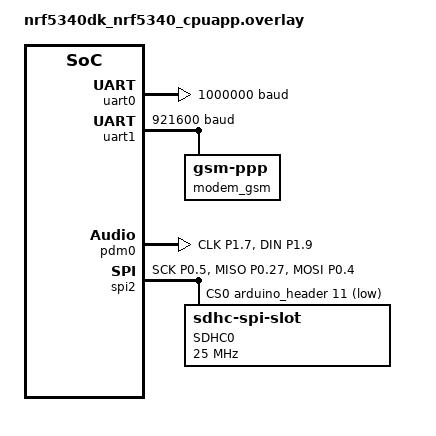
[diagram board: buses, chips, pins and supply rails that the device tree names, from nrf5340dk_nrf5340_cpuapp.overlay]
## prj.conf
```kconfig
#for serial and logging
CONFIG_LOG=y
CONFIG_SERIAL=y

CONFIG_AUDIO=y
CONFIG_AUDIO_DMIC=y

# GSM modem support
CONFIG_MODEM=y
CONFIG_MODEM_GSM_PPP=y
CONFIG_MODEM_GSM_QUECTEL=y

# PPP networking support
CONFIG_NET_DRIVERS=y
CONFIG_NET_PPP=y
CONFIG_NET_L2_PPP=y
CONFIG_NET_NATIVE=y
CONFIG_NETWORKING=y
CONFIG_NET_L2_PPP_TIMEOUT=10000

# AWS
CONFIG_AWS_ENDPOINT="AWS_end_point"
CONFIG_AWS_THING_NAME="AWS_Thing_Name"
CONFIG_AWS_PUBLISH_TOPIC="AWS_Topic"
CONFIG_AWS_TEST_SUITE_DQP=n
CONFIG_MAIN_STACK_SIZE=98000


CONFIG_ENTROPY_GENERATOR=y
CONFIG_TEST_RANDOM_GENERATOR=y
CONFIG_INIT_STACKS=y
CONFIG_HW_STACK_PROTECTION=y
CONFIG_NEWLIB_LIBC=y
CONFIG_POSIX_API=y
CONFIG_POSIX_MAX_FDS=6
CONFIG_SNTP=y

# DNS
CONFIG_DNS_RESOLVER=y
CONFIG_DNS_RESOLVER_ADDITIONAL_BUF_CTR=2
CONFIG_DNS_RESOLVER_MAX_SERVERS=1
CONFIG_DNS_SERVER_IP_ADDRESSES=y
CONFIG_DNS_SERVER1="8.8.8.8"
CONFIG_NET_SOCKETS_DNS_TIMEOUT=5000
CONFIG_DNS_RESOLVER_LOG_LEVEL_DBG=n

# Generic networking options
CONFIG_NET_UDP=y
CONFIG_NET_TCP=y
CONFIG_NET_IPV6=y
CONFIG_NET_IPV4=y
CONFIG_NET_SOCKETS=y
CONFIG_NET_SOCKETS_SOCKOPT_TLS=y

# Network management events
CONFIG_NET_CONNECTION_MANAGER=y

CONFIG_NET_SHELL=y
CONFIG_MODEM_SHELL=y
# CONFIG_MODEM_SHELL_INFO=y
CONFIG_MODEM_GSM_APN="airtelgprs.com"
# CONFIG_MODEM_GSM_APN="data.apn.name"
CONFIG_MODEM_SIM_NUMBERS=n

# Network buffers
CONFIG_NET_PKT_RX_COUNT=128
CONFIG_NET_PKT_TX_COUNT=128
CONFIG_NET_BUF_RX_COUNT=128
CONFIG_NET_BUF_TX_COUNT=128

#For Baud rate
CONFIG_NET_PPP_RINGBUF_SIZE=8192



# MQTT
CONFIG_MQTT_LIB=y
CONFIG_MQTT_LIB_TLS=y
CONFIG_MQTT_KEEPALIVE=60
CONFIG_AWS_QOS= 1
CONFIG_MBEDTLS=y
CONFIG_MBEDTLS_BUILTIN=y
CONFIG_MBEDTLS_ENABLE_HEAP=y
CONFIG_MBEDTLS_HEAP_SIZE=65536
CONFIG_MBEDTLS_SSL_MAX_CONTENT_LEN=16384
CONFIG_MBEDTLS_PEM_CERTIFICATE_FORMAT=y
CONFIG_MBEDTLS_USER_CONFIG_ENABLE=y
CONFIG_MBEDTLS_USER_CONFIG_FILE="user-tls.h"
CONFIG_MBEDTLS_SERVER_NAME_INDICATION=y
CONFIG_MBEDTLS_TLS_VERSION_1_2=y
CONFIG_MBEDTLS_MEMORY_DEBUG=n





# CONFIG_LOG_BACKEND_UART=y
CONFIG_SPI=y
CONFIG_STDOUT_CONSOLE=y
CONFIG_FLASH=y
CONFIG_PRINTK=y
CONFIG_SPI_NRFX_RAM_BUFFER_SIZE=512
CONFIG_I2S=y
CONFIG_DATE_TIME=y
CONFIG_REBOOT=y
CONFIG_FPU=y

#SD Card
CONFIG_DISK_ACCESS=y
CONFIG_FILE_SYSTEM=y
CONFIG_FAT_FILESYSTEM_ELM=y
CONFIG_DISK_DRIVER_SDMMC=y
```

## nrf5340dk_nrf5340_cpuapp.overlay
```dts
&uart0 {
	current-speed = <1000000>;
	status = "okay";
};

&pinctrl {
	uart1_default: uart1_default {
		group1 {
			psels = <NRF_PSEL(UART_TX, 1, 10)>;
		};
		group2 {
			psels = <NRF_PSEL(UART_RX, 1, 11)>;
			bias-pull-up;
		};
	};

	uart1_sleep: uart1_sleep {
		group1 {
			psels = <NRF_PSEL(UART_TX, 1, 10)>,
					<NRF_PSEL(UART_RX,1, 11)>;
			low-power-enable;
		};
	};


};
&uart1 {
	status = "okay";
	current-speed = <921600>;  // for US devices it should be 921600
	gsm: gsm-modem {
		status = "okay";
		compatible = "zephyr,gsm-ppp";
		label = "modem_gsm";
	};
};

&pinctrl {
	
	spi2_default_alt: spi2_default_alt {
		group1 {
			psels = <NRF_PSEL(SPIM_SCK, 0, 5)>,
				<NRF_PSEL(SPIM_MISO, 0, 27)>,
				<NRF_PSEL(SPIM_MOSI, 0, 4)>;
		};
	};

	spi2_sleep_alt: spi2_sleep_alt {
		group1 {
			psels = <NRF_PSEL(SPIM_SCK, 0, 5)>,
				<NRF_PSEL(SPIM_MISO, 0, 27)>,
				<NRF_PSEL(SPIM_MOSI, 0, 4)>;
			low-power-enable;
		};
	};
};

// Audio ---------------------
&clock {
	hfclkaudio-frequency = <12288000>;
};

&pinctrl {
	pdm0_default_alt: pdm0_default_alt {
		group1 {
			psels = <NRF_PSEL(PDM_CLK, 1, 7)>,
					<NRF_PSEL(PDM_DIN, 1, 9)>;
		};
	};
};

dmic_dev: &pdm0 {
	status = "okay";
	pinctrl-0 = <&pdm0_default_alt>;
	pinctrl-names = "default";
	clock-source = "ACLK";
	queue-size = <16>;
};


&spi2 {
	status = "okay";
	cs-gpios = <&gpio0 24 GPIO_ACTIVE_LOW>;
	sdhc0: sdhc@0 {
		compatible = "zephyr,sdhc-spi-slot";
		reg = <0>;
		status = "okay";
		mmc{
			compatible = "zephyr,sdmmc-disk";
			status = "okay";
		};
		label = "SDHC0";
		spi-max-frequency = <25000000>;
	};
};

spi_2: &spi2 {
	compatible = "nordic,nrf-spim";
	status = "okay";
	cs-gpios = <&arduino_header 11 GPIO_ACTIVE_LOW>; /* D5 */
	pinctrl-0 = <&spi2_default_alt>;
	pinctrl-1 = <&spi2_sleep_alt>;
	pinctrl-names = "default", "sleep";
};
```

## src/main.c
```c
/*sdk verison 2.5.1*/
#include "headers/main_aws.h"
#include "headers/main_audio.h"
#include "headers/main_gsm.h"
#include "headers/main_epoch.h"
#include <stdio.h>
#include <string.h>
#include <zephyr/device.h>
#include <zephyr/devicetree.h>
#include <zephyr/drivers/flash.h>
#include <zephyr/kernel.h>
#include <zephyr/drivers/gpio.h>
#include <zephyr/sys/printk.h>

#define SPI_FLASH_SECTOR_SIZE 0x1000
#define READ_ADDRESS 0x1000
#define WRITE_ADDRESS 0x2000

/* GPIO led code */
// Initialization of led1 to start GSM
#define LED0_NODE DT_ALIAS(led1)
static const struct gpio_dt_spec led = GPIO_DT_SPEC_GET(LED0_NODE, gpios);

/* Defining the mutex as to lock the flash while reading and writing and then unlocking it. */
K_MUTEX_DEFINE(flash_mutex);

int devId = 0x16;
int writeIdx = 0;
int readIdx = 0;
int maxWriteIdx = 300000; // for 32GB SD Card
int maxReadIdx = 300000;  // for 32GB SD Card
int flahsLimit = 0x800000;

void gsm_enable()
{
	gpio_pin_configure_dt(&led, GPIO_OUTPUT | GPIO_ACTIVE_LOW);
	gpio_pin_set_dt(&led, 0);
	K_MSEC(300);
	gpio_pin_set_dt(&led, 1);
	K_MSEC(100);
}

void main(void)
{
	printk("Device ID is : %x\n", devId);
	printk("Starting Board! %s\n", CONFIG_BOARD);
	int rc;
	int tempReadIdx, tempWriteIdx;
	const struct device *flash_dev;
	flash_dev = DEVICE_DT_GET(DT_ALIAS(spi_flash0));
	size_t len = sizeof(int);
	if (!device_is_ready(flash_dev))
	{
		printk("%s: flash device device not ready.\n", flash_dev->name);
		return;
	}
	rc = flash_read(flash_dev, READ_ADDRESS, &tempReadIdx, len);
	if (rc == 0)
	{
		printk("Successfully read readIdx : %d\n", tempReadIdx);
		if (tempReadIdx > 0 && tempReadIdx < maxReadIdx)
		{
			readIdx = tempReadIdx;
		}
	}
	else
	{
		printk("Failed to read readIdx\n");
	}
	rc = flash_read(flash_dev, WRITE_ADDRESS, &tempWriteIdx, len);
	if (rc == 0)
	{
		printk("Successfully read writeIdx : %d\n", tempWriteIdx);
		if (tempWriteIdx > 0 && tempWriteIdx < maxWriteIdx)
		{
			writeIdx = tempWriteIdx;
		}
	}
	else
	{
		printk("Failed to read writeIdx\n");
	}
	Audio_init();
	gsm_enable();
	init_gsm(&GSM_CONNECTED, &GSM_DISCONNECTED);
	init_aws();
	AWS_loop();
}
```

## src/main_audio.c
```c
/*sdk verison 2.5.1*/
#include "headers/main_aws.h"
#include "headers/main_audio.h"
#include "headers/main_gsm.h"
#include "headers/main_epoch.h"
#include <zephyr/devicetree.h>
#include <time.h>
#include <string.h>
#include <math.h>
#include <zephyr/device.h>
#include <zephyr/storage/disk_access.h>
#include <zephyr/drivers/flash.h>
#include <zephyr/logging/log.h>
#include <zephyr/fs/fs.h>
#include <ff.h>

// For audio
#include <string.h>
#include <zephyr/kernel.h>
#include <zephyr/sys/printk.h>
#include <zephyr/audio/dmic.h>
#include <complex.h>

extern struct k_mutex flash_mutex;

const struct device *flash_dev;
LOG_MODULE_REGISTER(audio_start);

// #define AUDIO_FREQ 16000 // for 16 kHz
#define PI 3.14159265358979323846
#define AUDIO_FREQ 8000 // for 8 kHz
#define CHAN_SIZE 16
#define PCM_BLK_SIZE_MS ((AUDIO_FREQ / 1000) * sizeof(int16_t))
#define NUM_MS 5999
K_MEM_SLAB_DEFINE(rx_mem_slab, PCM_BLK_SIZE_MS, NUM_MS + 2, 1);
K_MEM_SLAB_DEFINE(rx_temp_slab, 4, 4, 4);
void *rx_block[NUM_MS];
size_t rx_size = PCM_BLK_SIZE_MS;
extern int writeIdx;
extern int devId;
#define READ_TIMEOUT_MS 6000
#define TARGET_FREQUENCY 2500
#define HAMMING_WINDOW_BLOCK_SIZE 128
// Goertzel algorithm variables
double magnitude = 0.0, mean = 0.0;
double thresholdMean = 39;
#define AUDIO_FRAGMENT 96000

#define SPI_FLASH_SECTOR_SIZE 0x1000
#define READ_ADDRESS 0x1000
#define WRITE_ADDRESS 0x2000
extern int maxWriteIdx;

static FATFS fat_fs;
/* mounting info */
static struct fs_mount_t mp = {
	.type = FS_FATFS,
	.fs_data = &fat_fs,
};

static const char *disk_mount_pt = "/SD:";

static float hamming_window(size_t i)
{
	const float alpha = 0.53836;
	const float beta = 1.0 - alpha;
	float h = (alpha - beta * cosf((2 * PI * i) / (HAMMING_WINDOW_BLOCK_SIZE - 1)));
	return h;
}

static float goertzel(const int16_t *pcm_data[])
{
	printk("Entering goertzel function\n");
	const float sampling_rate = (float)AUDIO_FREQ;
	const float omega = (2.0 * PI * TARGET_FREQUENCY) / sampling_rate;

	// for current, previous and previous than previous value of q
	float q0 = 0.0, q1 = 0.0, q2 = 0.0;
	float cosine = cosf(omega);

	for (size_t i = 0; i < NUM_MS; i++)
	{
		float h = 0.0;
		// Goertzel
		q1 = 0.0;
		q2 = 0.0;
		int16_t data = 0;
		for (size_t j = i; j < i + HAMMING_WINDOW_BLOCK_SIZE / 8; j++)
		{
			for (size_t k = 0; k < 8; k++)
			{
				h = hamming_window((j - i) * 8 + k + 1);
				// Extracting data from audio block
				data = pcm_data[j][k];
				q0 = h * (float)data + 2.0 * cosine * q1 - q2;
				q2 = q1;
				q1 = q0;
				// printk("q0:%f, q1:%f, q2:%f, Data:%d\n", q0, q1, q2, data);
			}
		}
		// Magnitude calculation
		// magnitude = sqrtf(q0 * q0 + q1 * q1 - 2.0 * q0 * q1 * cosine);
		magnitude = cabsf(q1 - cexp(-I * 2 * PI * TARGET_FREQUENCY / sampling_rate) * q2);
		mean += magnitude;
		// printk("Magnittude %i is %f\n", (i / (16)), 20 * log10(magnitude));
		i += 15;
	}
	mean = 20 * log10(mean / 375);
	printk("Mean is %f\n", mean);
	k_sleep(K_MSEC(100));
	return mean;
}

void audio_start(void)
{
	int rc;
	const struct device *flash_dev;
	flash_dev = DEVICE_DT_GET(DT_ALIAS(spi_flash0));
	
	int i;
	uint32_t ms;
	int ret;

	const struct device *const mic_dev = DEVICE_DT_GET(DT_NODELABEL(dmic_dev));

	if (!device_is_ready(mic_dev))
	{
		LOG_ERR("%s: device not ready.\n", mic_dev->name);
		return 0;
	}

	struct pcm_stream_cfg stream = {
		.pcm_width = CHAN_SIZE,
		.mem_slab = &rx_mem_slab,
	};

	struct dmic_cfg cfg = {
		.io = {
			.min_pdm_clk_freq = 512000, // For 8kHz = 64(decimation ratio)*8
			.max_pdm_clk_freq = 640000, // For 8kHz = 80(decimation ratio)*8
			.min_pdm_clk_dc = 40,
			.max_pdm_clk_dc = 60,
		},
		.streams = &stream,
		.channel = {
			.req_num_streams = 1,
		},
	};

	cfg.channel.req_num_chan = 1;
	cfg.channel.req_chan_map_lo =
		dmic_build_channel_map(0, 0, PDM_CHAN_LEFT);
	cfg.streams[0].pcm_rate = AUDIO_FREQ;
	cfg.streams[0].block_size = PCM_BLK_SIZE_MS;

	ret = dmic_configure(mic_dev, &cfg);
	if (ret < 0)
	{
		LOG_ERR("microphone configuration error\n");
		return 0;
	}
	else
	{
		LOG_INF("microphone configuration success\n");
	}

	for (;;)
	{
		int res;
		int epoch_array[10] = {0};
		uint8_t audio_info_part[16] = {0};
		// Audio get data ------------------
		ret = dmic_trigger(mic_dev, DMIC_TRIGGER_START);
		if (ret < 0)
		{
			LOG_ERR("microphone start trigger error\n");
			return 0;
		}
		else
		{
			LOG_INF("microphone start trigger success\n");
		}
		/* Acquire microphone audio */
		printf("Recording...\n");
		for (ms = 0; ms < NUM_MS; ms++)
		{
			ret = dmic_read(mic_dev, 0, &rx_block[ms], &rx_size, READ_TIMEOUT_MS);
			if (ret < 0)
			{
				LOG_ERR("%d microphone audio read error %p %u.\n", ms, rx_block[ms], rx_size);
				return 0;
			}
		}
		float mean = goertzel((const int16_t *)rx_block);
		if (mean > thresholdMean)
		{
			printk("Attempting to write to file...\n");
			char filename[30];

			struct fs_file_t filep;
			size_t bytes_written;

			fs_file_t_init(&filep);

			sprintf(&filename, "/SD:/%ld.raw", writeIdx);

			fs_unlink(filename);

			res = fs_open(&filep, filename, FS_O_CREATE | FS_O_WRITE | FS_O_APPEND);
			if (res)
			{
				printk("Error opening file %s [%d]\n", filename, res);
				// return;
			}
			else
			{
				printk("File %s opened successfully\n", filename);
				setting_epoch();
				get_epoch(epoch_array);
				audio_info_part[0] = devId;
				for (int epoch_count = 0; epoch_count < 10; epoch_count++)
				{
					audio_info_part[epoch_count + 1] = epoch_array[epoch_count];
				}
				fs_write(&filep, &audio_info_part, sizeof(audio_info_part));
			}

			for (i = 0; i < NUM_MS; i++)
			{
				uint32_t *pcm_out = rx_block[i];
				for (int j = 0; j < rx_size / 4; j++)
				{
					// printk("Writing 0x%8x, \n", pcm_out[j]);

					res = fs_write(&filep, &pcm_out[j], sizeof(uint32_t));
					if (res < 0)
					{
						printk("Error writing file [%d]\n", res);
					}
					else
					{
						// printk("%d bytes written to file\n", res);
					}
				}
				k_mem_slab_free(&rx_temp_slab, &pcm_out);
			}
			writeIdx++;
			if (writeIdx > maxWriteIdx)
			{
				writeIdx = 0;
			}

			k_mutex_lock(&flash_mutex, K_FOREVER);
			rc = flash_erase(flash_dev, WRITE_ADDRESS, SPI_FLASH_SECTOR_SIZE);
			if (rc != 0)
			{
				printk("Flash erase failed with error code %d\n", rc);
				return;
			}
			const int wr_len = sizeof(int);
			rc = flash_write(flash_dev, WRITE_ADDRESS, &writeIdx, wr_len);
			if (rc == 0)
			{
				printk("Updated writeIdx : %d\n", writeIdx);
			}
			else
				printk("Failed to update writeIdx\n");
			k_mutex_unlock(&flash_mutex);

			printk("Done Writing\n");
			printk("Done recording\n");

			res = fs_close(&filep);
			if (res < 0)
			{
				printk("%d %d", res, -ENOTSUP);
				printk("Error closing file [%d]\n", res);
				// lsdir(disk_mount_pt);
			}
			for (int b = 0; b < NUM_MS; b++)
				k_mem_slab_free(&rx_mem_slab, &rx_block[b]);
			break;
		}
		else
		{
			printk("Done recording\n");
			printk("Mean is too less to write file in card!!!\n");

			// Freeing memory slab buffer
			for (int b = 0; b < NUM_MS; b++)
				k_mem_slab_free(&rx_mem_slab, &rx_block[b]);
		}
	}
}

void Audio_init()
{

	static const char *disk_pdrv = "SD";
	uint64_t memory_size_mb;
	uint32_t block_count;
	uint32_t block_size;

	if (disk_access_init(disk_pdrv) != 0)
	{
		LOG_ERR("Storage init ERROR!");
		return;
	}

	if (disk_access_ioctl(disk_pdrv,
						  DISK_IOCTL_GET_SECTOR_COUNT, &block_count))
	{
		LOG_ERR("Unable to get sector count");
		return;
	}
	LOG_INF("Block count %u", block_count);

	if (disk_access_ioctl(disk_pdrv,
						  DISK_IOCTL_GET_SECTOR_SIZE, &block_size))
	{
		LOG_ERR("Unable to get sector size");
		return;
	}
	printk("Sector size %u\n", block_size);

	memory_size_mb = (uint64_t)block_count * block_size;
	printk("Memory Size(MB) %u\n", (uint32_t)(memory_size_mb >> 20));
	// }

	mp.mnt_point = disk_mount_pt;

	int res = fs_mount(&mp);

	if (res == FR_OK)
	{
		printk("Disk mounted.\n");
	}
	else
	{
		printk("Error mounting disk.\n");
	}
}
```

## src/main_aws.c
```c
/*sdk verison 2.5.1*/
#include "creds/creds.h"
#include "headers/main_aws.h"
#include "headers/main_audio.h"
#include "headers/main_gsm.h"
#include "headers/main_epoch.h"

#include <errno.h>
#include <stdio.h>
#include <stdlib.h>
#include <time.h>

#include <zephyr/devicetree.h>
#include <zephyr/drivers/modem/gsm_ppp.h>
#include <zephyr/drivers/uart.h>
#include <zephyr/kernel.h>
#include <zephyr/logging/log.h>
#include <zephyr/net/dns_resolve.h>
#include <zephyr/net/mqtt.h>
#include <zephyr/net/net_core.h>
#include <zephyr/net/net_event.h>
#include <zephyr/net/net_mgmt.h>
#include <zephyr/net/ppp.h>
#include <zephyr/net/sntp.h>
#include <zephyr/net/tls_credentials.h>
#include <zephyr/drivers/flash.h>
#include <zephyr/random/rand32.h>
#include <zephyr/shell/shell.h>
#include <zephyr/sys/printk.h>
#include <zephyr/device.h>
#include <zephyr/drivers/gpio.h>
#include <zephyr/pm/pm.h>
#include <poll.h>
#include <unistd.h>
#include <string.h>



#define SPI_FLASH_SECTOR_SIZE 4096
#define READ_ADDRESS 4096
#define WRITE_ADDRESS 8192

/* GPIO led code */
// Initialization LED3 for publishing data to AWS
// #define LED2_NODE DT_ALIAS(led2)
// static const struct gpio_dt_spec led7 = GPIO_DT_SPEC_GET(LED2_NODE, gpios);

#define GSM_MODEM_NODE DT_COMPAT_GET_ANY_STATUS_OKAY(zephyr_gsm_ppp)
#define UART_NODE DT_BUS(GSM_MODEM_NODE)

static const struct device *const gsm_dev = DEVICE_DT_GET(GSM_MODEM_NODE);
static struct net_mgmt_event_callback mgmt_cb;

#if defined(CONFIG_MBEDTLS_MEMORY_DEBUG)
#include <mbedtls/memory_buffer_alloc.h>
#endif
#include <sys/socket.h>

static bool gsm_connected_aws = false;

#define SNTP_SERVER "0.pool.ntp.org"

#define AWS_BROKER_PORT "8883"

#define MQTT_BUFFER_SIZE 256u
#define APP_BUFFER_SIZE 16384u

#define MAX_RETRIES 10u
#define BACKOFF_EXP_BASE_MS 1000u
#define BACKOFF_EXP_MAX_MS 60000u
#define BACKOFF_CONST_MS 5000u

static struct sockaddr_in aws_broker;

static uint8_t rx_buffer[MQTT_BUFFER_SIZE];
static uint8_t tx_buffer[MQTT_BUFFER_SIZE];
static uint8_t buffer[APP_BUFFER_SIZE]; /* Shared between published and received messages */

static struct mqtt_client client_ctx;

static const char mqtt_client_name[] = CONFIG_AWS_THING_NAME;

static uint32_t messages_received_counter;
static bool do_publish;	  /* Trigger client to publish */
static bool do_subscribe; /* Trigger client to subscribe */

#define TLS_TAG_DEVICE_CERTIFICATE 1
#define TLS_TAG_DEVICE_PRIVATE_KEY 1
#define TLS_TAG_AWS_CA_CERTIFICATE 1

extern struct k_mutex flash_mutex;
int PUBLISH_PAYLOAD_SIZE = 96000;
int audioCounter = 0;
static int varMem = 0;

extern int maxReadIdx, writeIdx, readIdx, counter, flashLimit;
K_SEM_DEFINE(ack_done_sem, 0, 1);




static sec_tag_t sec_tls_tags[] = {
	TLS_TAG_DEVICE_CERTIFICATE,
};

static int setup_credentials(void)
{
	int ret;

	ret = tls_credential_add(TLS_TAG_DEVICE_CERTIFICATE, TLS_CREDENTIAL_SERVER_CERTIFICATE,
							 public_cert, public_cert_len);
	if (ret < 0)
	{
		printk("Failed to add device certificate: %d", ret);
		goto exit;
	}

	ret = tls_credential_add(TLS_TAG_DEVICE_PRIVATE_KEY, TLS_CREDENTIAL_PRIVATE_KEY,
							 private_key, private_key_len);
	if (ret < 0)
	{
		printk("Failed to add device private key: %d", ret);
		goto exit;
	}

	ret = tls_credential_add(TLS_TAG_AWS_CA_CERTIFICATE, TLS_CREDENTIAL_CA_CERTIFICATE, ca_cert,
							 ca_cert_len);
	if (ret < 0)
	{
		printk("Failed to add device private key: %d", ret);
		goto exit;
	}

exit:
	return ret;
}

static int publish_message(const char *topic, size_t topic_len, uint8_t *payload,
						   size_t payload_len)
{

	static uint32_t message_id = 1u;

	int ret;
	struct mqtt_publish_param msg;

	msg.retain_flag = 0u;
	msg.message.topic.topic.utf8 = topic;
	msg.message.topic.topic.size = topic_len;
	msg.message.topic.qos = CONFIG_AWS_QOS;
	msg.message.payload.data = payload;
	msg.message.payload.len = payload_len;
	msg.message_id = message_id++;

	ret = mqtt_publish(&client_ctx, &msg);
	if (ret != 0)
	{
		printk("Failed to publish message: %d", ret);
		printk("Address of flash which is not published: %08x \n", readIdx);
		/* MQTT not connected */
		// gpio_pin_configure_dt(&led7, GPIO_OUTPUT | GPIO_ACTIVE_LOW);
		// gpio_pin_set_dt(&led7, 0);
		// k_sleep(K_MSEC(100));
	}
	else
	{
		messages_received_counter++;

		printk("PUBLISHED on topic \"%s\" [ id: %u qos: %u ], payload: %u B", topic, msg.message_id,
			   msg.message.topic.qos, payload_len);
	}

	k_sleep(K_MSEC(500));

	return ret;
}

static ssize_t handle_published_message(const struct mqtt_publish_param *pub)
{
	int ret;
	size_t received = 0u;
	const size_t message_size = pub->message.payload.len;
	const bool discarded = message_size > APP_BUFFER_SIZE;

	printk("RECEIVED on topic \"%s\" [ id: %u qos: %u ] payload: %u / %u B",
		   (const char *)pub->message.topic.topic.utf8, pub->message_id, pub->message.topic.qos,
		   message_size, APP_BUFFER_SIZE);

	while (received < message_size)
	{
		uint8_t *p = discarded ? buffer : &buffer[received];

		ret = mqtt_read_publish_payload_blocking(&client_ctx, p, APP_BUFFER_SIZE);
		if (ret < 0)
		{
			return ret;
		}

		received += ret;
	}

	/* Send ACK */
	switch (pub->message.topic.qos)
	{
	case MQTT_QOS_1_AT_LEAST_ONCE:
	{
		struct mqtt_puback_param puback;

		puback.message_id = pub->message_id;
		mqtt_publish_qos1_ack(&client_ctx, &puback);
	}
	break;
	case MQTT_QOS_2_EXACTLY_ONCE: /* unhandled (not supported by AWS) */
	case MQTT_QOS_0_AT_MOST_ONCE: /* nothing to do */
	default:
		break;
	}

	return discarded ? -ENOMEM : received;
}

const char *mqtt_evt_type_to_str(enum mqtt_evt_type type)
{
	static const char *const types[] = {
		"CONNACK",
		"DISCONNECT",
		"PUBLISH",
		"PUBACK",
		"PUBREC",
		"PUBREL",
		"PUBCOMP",
		"SUBACK",
		"UNSUBACK",
		"PINGRESP",
	};

	return (type < ARRAY_SIZE(types)) ? types[type] : "<unknown>";
}

static void mqtt_event_cb(struct mqtt_client *client, const struct mqtt_evt *evt)
{
	printk("MQTT event: %s [%u] result: %d", mqtt_evt_type_to_str(evt->type), evt->type,
		   evt->result);

	switch (evt->type)
	{
	case MQTT_EVT_CONNACK:
	{
		// do_subscribe = true;
		do_publish = true;
	}
	break;

	case MQTT_EVT_PUBLISH:
	{
		const struct mqtt_publish_param *pub = &evt->param.publish;

		handle_published_message(pub);
		messages_received_counter++;
#if !defined(CONFIG_AWS_TEST_SUITE_RECV_QOS1)
		do_publish = true;
#endif
	}
	break;

	case MQTT_EVT_SUBACK:
	{
#if !defined(CONFIG_AWS_TEST_SUITE_RECV_QOS1)
		do_publish = true;
#endif
	}
	break;

	case MQTT_EVT_PUBACK:
	{
		int rc;
		const struct device *flash_dev;
		flash_dev = DEVICE_DT_GET(DT_ALIAS(spi_flash0));
		if (!device_is_ready(flash_dev))
		{
			printk("%s: flash device device not ready.\n", flash_dev->name);
			return;
		}

		// k_sem_give(&ack_done_sem);
		printk("\nPUBACK received, flash @ %08x -> \n", readIdx);
		readIdx++;
		k_mutex_lock(&flash_mutex, K_FOREVER);
		rc = flash_erase(flash_dev, READ_ADDRESS, SPI_FLASH_SECTOR_SIZE);
		if (rc != 0)
		{
			printk("Flash erase failed with error code %d\n", rc);
			return;
		}
		const int wr_len = sizeof(int);
		rc = flash_write(flash_dev, READ_ADDRESS, &readIdx, wr_len);
		if (rc == 0)
		{
			printk("Updated readIdx : %d\n", readIdx);
		}
		else
			printk("Failed to update readIdx\n");
		k_mutex_unlock(&flash_mutex);
	}
	break;

	case MQTT_EVT_DISCONNECT:
	case MQTT_EVT_PUBREC:
	case MQTT_EVT_PUBREL:
	case MQTT_EVT_PUBCOMP:
	case MQTT_EVT_PINGRESP:
	case MQTT_EVT_UNSUBACK:
	default:
		break;
	}
}

static void aws_client_setup(void)
{
	mqtt_client_init(&client_ctx);

	client_ctx.broker = &aws_broker;
	client_ctx.evt_cb = mqtt_event_cb;

	client_ctx.client_id.utf8 = (uint8_t *)mqtt_client_name;
	client_ctx.client_id.size = sizeof(mqtt_client_name) - 1;
	client_ctx.password = NULL;
	client_ctx.user_name = NULL;

	client_ctx.keepalive = CONFIG_MQTT_KEEPALIVE;

	client_ctx.protocol_version = MQTT_VERSION_3_1_1;

	client_ctx.rx_buf = rx_buffer;
	client_ctx.rx_buf_size = MQTT_BUFFER_SIZE;
	client_ctx.tx_buf = tx_buffer;
	client_ctx.tx_buf_size = MQTT_BUFFER_SIZE;

	/* setup TLS */
	client_ctx.transport.type = MQTT_TRANSPORT_SECURE;
	struct mqtt_sec_config *const tls_config = &client_ctx.transport.tls.config;

	tls_config->peer_verify = TLS_PEER_VERIFY_REQUIRED;
	tls_config->cipher_list = NULL;
	tls_config->sec_tag_list = sec_tls_tags;
	tls_config->sec_tag_count = ARRAY_SIZE(sec_tls_tags);
	tls_config->hostname = CONFIG_AWS_ENDPOINT;
	tls_config->cert_nocopy = TLS_CERT_NOCOPY_NONE;
}

struct backoff_context
{
	uint16_t retries_count;
	uint16_t max_retries;

#if defined(CONFIG_AWS_EXPONENTIAL_BACKOFF)
	uint32_t attempt_max_backoff; /* ms */
	uint32_t max_backoff;		  /* ms */
#endif
};

static void backoff_context_init(struct backoff_context *bo)
{
	__ASSERT_NO_MSG(bo != NULL);

	bo->retries_count = 0u;
	bo->max_retries = MAX_RETRIES;

#if defined(CONFIG_AWS_EXPONENTIAL_BACKOFF)
	bo->attempt_max_backoff = BACKOFF_EXP_BASE_MS;
	bo->max_backoff = BACKOFF_EXP_MAX_MS;
#endif
}

/* https://aws.amazon.com/blogs/architecture/exponential-backoff-and-jitter/ */
static void backoff_get_next(struct backoff_context *bo, uint32_t *next_backoff_ms)
{
	__ASSERT_NO_MSG(bo != NULL);
	__ASSERT_NO_MSG(next_backoff_ms != NULL);

#if defined(CONFIG_AWS_EXPONENTIAL_BACKOFF)
	if (bo->retries_count <= bo->max_retries)
	{
		*next_backoff_ms = sys_rand32_get() % (bo->attempt_max_backoff + 1u);

		/* Calculate max backoff for the next attempt (~ 2**attempt) */
		bo->attempt_max_backoff = MIN(bo->attempt_max_backoff * 2u, bo->max_backoff);
		bo->retries_count++;
	}
#else
	*next_backoff_ms = BACKOFF_CONST_MS;
#endif
}

static int aws_client_try_connect(void)
{
	int ret = -1;
	uint32_t backoff_ms;
	struct backoff_context bo;

	backoff_context_init(&bo);

	while (bo.retries_count <= bo.max_retries)
	{

		// Sytem reboot if backoff delay is greater than 5
		if (bo.retries_count >= 3)
		{ // changed from 3 to 5
			printk("Inside the rebbot");
			sys_reboot();
		}

		ret = mqtt_connect(&client_ctx);
		if (ret == 0)
		{
			/* MQTT  connected */
			// gpio_pin_configure_dt(&led7, GPIO_OUTPUT | GPIO_ACTIVE_LOW);
			// gpio_pin_set_dt(&led7, 1);
			// K_MSEC(100);
			goto exit;
		}

		backoff_get_next(&bo, &backoff_ms);

		printk("Failed to connect: %d backoff delay: %u ms", ret, backoff_ms);
		k_msleep(backoff_ms);
		// gpio_pin_configure_dt(&led7, GPIO_OUTPUT | GPIO_ACTIVE_LOW);
		// gpio_pin_set_dt(&led7, 0);

		// K_MSEC(100);
	}

exit:
	return ret;
}

struct publish_payload
{
	uint32_t counter;
};

void publish(void)
{
	/* The length of data reading from flash is 1024*64 bytes */
	int ret;
	int rc;
	const size_t len = PUBLISH_PAYLOAD_SIZE;

	uint8_t buf[PUBLISH_PAYLOAD_SIZE];
	struct fs_file_t file;
	fs_file_t_init(&file);
	char read_filename[30];
	if (readIdx >= maxReadIdx)
	{
		readIdx = 0;
	}
	if (readIdx < writeIdx)
	{
		sprintf(&read_filename, "/SD:/%ld.raw", readIdx);
		ret = fs_open(&file, read_filename, FS_O_READ);
		// ret = fs_seek(&file, readIdx * PUBLISH_PAYLOAD_SIZE, FS_SEEK_SET);

		rc = fs_read(&file, &buf, sizeof(buf));
		if (rc < 0)
		{
			printk("FAIL: read %s: [rd:%d]\n", read_filename, rc);
		}
		ret = fs_close(&file);
	}

	publish_message(CONFIG_AWS_PUBLISH_TOPIC, strlen(CONFIG_AWS_PUBLISH_TOPIC), buf,
					len);
}

void aws_client_loop(void)
{
	int rc;
	int timeout;
	struct pollfd fds;

	// printk("setting up client\n");
	aws_client_setup();
	// printk("client setup done\n");

	if (gsm_connected_aws)
	{
		printk("GSM_CONNECTED_AWS ..............\n");
		printk("connecting...\n");
		rc = aws_client_try_connect();

		if (rc != 0)
		{
			goto cleanup;
		}
	}
	else
	{
		goto cleanup;
	}

	printk("client connected\n");

	fds.fd = client_ctx.transport.tcp.sock;
	fds.events = POLLIN | POLLHUP | POLLERR;

	for (;;)
	{
		printk("\nTrying publishing....\n");
		timeout = mqtt_keepalive_time_left(&client_ctx);
		rc = poll(&fds, 1u, timeout);
		if (rc >= 0)
		{
			if (fds.revents & POLLIN)
			{
				rc = mqtt_input(&client_ctx);
				if (rc != 0)
				{
					printk("Failed to read MQTT input: %d\n", rc);
					/* MQTT not connected */
					break;
				}
			}

			rc = mqtt_live(&client_ctx);
			if ((rc != 0) && (rc != -EAGAIN))
			{
				printk("Failed to live MQTT: %d\n", rc);
				/* MQTT not connected */

				break;
			}
		}
		else
		{
			printk("poll failed: %d", rc);
			break;
		}

		if (do_publish)
		{
			printk("\ndo publish true! \n\n");
			if (audioCounter < 2)
			{
				if ((writeIdx - readIdx) >= 1)
				{
					audioCounter++;
				}
				else
				{
					audioCounter = 0;
					audio_start();
				}
			}
			else
			{
				audioCounter = 0;
				audio_start();
			} // from here it will enter main_audio.c
			while (1)
			{

				if (writeIdx < readIdx)
				{
					varMem = maxReadIdx;
				}
				else
				{
					varMem = 0;
				}

				if (((writeIdx - readIdx + varMem) >= 1))
				{

					break;
				}
				k_msleep(100);
			}

			{
				printk("\n publishing data address: %08x \n", readIdx);
				publish();
			}
		}
	}

cleanup:
	mqtt_disconnect(&client_ctx);
	close(fds.fd);
	fds.fd = -1;
}

int sntp_sync_time(void)
{

	int rc;
	struct sntp_time now;
	struct timespec tspec;

	rc = sntp_simple(SNTP_SERVER, SYS_FOREVER_MS, &now);
	// printk("\n Value in SNTP = %x\n", now.seconds);
	if (rc == 0)
	{
		printk("\n Value in SNTP = %d", now.seconds);
		tspec.tv_sec = now.seconds;
		tspec.tv_nsec = ((uint64_t)now.fraction * (1000lu * 1000lu * 1000lu)) >> 32;

		clock_settime(CLOCK_REALTIME, &tspec);

		printk("Acquired time from NTP server: %u", (uint32_t)tspec.tv_sec);
	}
	else
	{
		printk("Failed to acquire SNTP, code %d\n", rc);
	}
	return rc;
}

static int resolve_broker_addr(struct sockaddr_in *broker)
{
	// printk("entered broke//r\n");/

	int ret;
	struct zsock_addrinfo *ai = NULL;

	const struct zsock_addrinfo hints = {
		.ai_family = AF_INET,
		.ai_socktype = SOCK_STREAM,
		.ai_protocol = 0,
	};

	// printk("zsock calling\n");
	ret = zsock_getaddrinfo(CONFIG_AWS_ENDPOINT, AWS_BROKER_PORT, &hints, &ai);

	if (ret == 0)
	{
		printk("copying memory\n");
		memcpy(broker, ai->ai_addr, MIN(ai->ai_addrlen, sizeof(struct sockaddr_storage)));

		char addr_str[INET_ADDRSTRLEN];

		zsock_inet_ntop(AF_INET, &broker->sin_addr, addr_str, sizeof(addr_str));
		printk("Resolved: %s:%u", addr_str, htons(broker->sin_port));
	}
	else
	{
		// printk("failed to resolve hostname err = %d (errno = %d)", ret, errno);
	}

	zsock_freeaddrinfo(ai);
	// printk("left broker\n");

	return ret;
}

void init_aws(void)
{
	printk("Initializing AWS...\n");

	dns_init_resolver();

	sntp_sync_time();

	setup_credentials();

	setting_epoch();

	printk("_____AWS Initialised____ \n");
}

void GSM_CONNECTED(void)
{
	gsm_connected_aws = true;
}

void GSM_DISCONNECTED(void)
{
	gsm_connected_aws = false;
}

void AWS_loop(void)
{

	for (;;)
	{
		// printk("Calling broker\n");
		resolve_broker_addr(&aws_broker);

		// printk("Calling client\n");
		aws_client_loop();
#if defined(CONFIG_MBEDTLS_MEMORY_DEBUG)
		size_t cur_used, cur_blocks, max_used, max_blocks;

		mbedtls_memory_buffer_alloc_cur_get(&cur_used, &cur_blocks);
		mbedtls_memory_buffer_alloc_max_get(&max_used, &max_blocks);
		printk("mbedTLS heap usage: MAX %u/%u (%u) CUR %u (%u)", max_used,
			   CONFIG_MBEDTLS_HEAP_SIZE, max_blocks, cur_used, cur_blocks);
#endif

		k_sleep(K_SECONDS(1));
	}

	return;
}
```

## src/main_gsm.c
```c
/*
 * Copyright (c) 2020, Intel Corporation
 *
 * SPDX-License-Identifier: Apache-2.0
 */

#include <zephyr/zephyr.h>
#include <zephyr/sys/printk.h>
#include <zephyr/shell/shell.h>
#include <zephyr/drivers/uart.h>
#include <zephyr/net/net_mgmt.h>
#include <zephyr/net/net_event.h>
// #include <zephyr/net/net_conn_mgr.h>
#include <zephyr/net/net_core.h>
#include <zephyr/drivers/modem/gsm_ppp.h>
#include <zephyr/devicetree.h>
#include <zephyr/net/ppp.h>
#include "headers/main_aws.h"
#include "headers/main_audio.h"
#include "headers/main_epoch.h"

/* GPIO led code */
#include <zephyr/drivers/gpio.h>
#include <zephyr/zephyr.h>
#include <zephyr/pm/pm.h>
#include <zephyr/device.h>
#include <zephyr/zephyr.h>

/* GPIO led code */
// Initialization LED4 for GSM connected
// #define LED0_NODE DT_ALIAS(led3)
// static const struct gpio_dt_spec led = GPIO_DT_SPEC_GET(LED0_NODE, gpios);

#include "headers/main_gsm.h"

#include <zephyr/logging/log.h>

#define GSM_MODEM_NODE DT_COMPAT_GET_ANY_STATUS_OKAY(zephyr_gsm_ppp)
#define UART_NODE DT_BUS(GSM_MODEM_NODE)

static const struct device *const gsm_dev = DEVICE_DT_GET(GSM_MODEM_NODE);
static struct net_mgmt_event_callback mgmt_cb;

static void (*gsm_connected_gsm)();
static void (*gsm_disconnected_gsm)();

static void event_handler(struct net_mgmt_event_callback *cb,
						  uint32_t mgmt_event, struct net_if *iface)
{
	ARG_UNUSED(cb);
	ARG_UNUSED(iface);

	if ((mgmt_event & (NET_EVENT_L4_CONNECTED | NET_EVENT_L4_DISCONNECTED)) != mgmt_event)
	{
		return;
	}

	if (mgmt_event == NET_EVENT_L4_CONNECTED)
	{
		printk("Network connected");
		(*gsm_connected_gsm)(NULL);
		printk("LED 4 IS HIGH\n");
		// gpio_pin_configure_dt(&led, GPIO_OUTPUT | GPIO_ACTIVE_LOW);
		// gpio_pin_set_dt(&led, 1);
		// K_MSEC(100);
		//(void)gsm_query_local_time(gsm_dev);
		return;
	}

	if (mgmt_event == NET_EVENT_L4_DISCONNECTED)
	{
		printk("Network disconnected");
		(*gsm_disconnected_gsm)(NULL);
		printk("LED 4 IS LOW\n");
		// gpio_pin_configure_dt(&led, GPIO_OUTPUT | GPIO_ACTIVE_LOW);
		// gpio_pin_set_dt(&led, 0);
		// K_MSEC(100);
		k_sleep(K_SECONDS(30));
		sys_reboot();

		return;
	}
}

static void modem_on_cb(const struct device *dev, void *user_data)
{
	ARG_UNUSED(dev);
	ARG_UNUSED(user_data);

	// printk("GSM modem on callback fired");
}

static void modem_off_cb(const struct device *dev, void *user_data)
{
	ARG_UNUSED(dev);
	ARG_UNUSED(user_data);

	// printk("GSM modem off callback fired");
}

void init_gsm(void *gsm_connected, void *gsm_disconnected)
{
	gsm_connected_gsm = gsm_connected;
	gsm_disconnected_gsm = gsm_disconnected;

	printk("Init... gsm");

	const struct device *uart_dev = DEVICE_DT_GET(UART_NODE);

	/* Optional register modem power callbacks */
	gsm_ppp_register_modem_power_callback(gsm_dev, modem_on_cb, modem_off_cb, NULL);

	printk("Board '%s' APN '%s' UART '%s' device %p (%s)",
		   CONFIG_BOARD, CONFIG_MODEM_GSM_APN,
		   uart_dev->name, uart_dev, gsm_dev->name);

	net_mgmt_init_event_callback(&mgmt_cb, event_handler,
								 NET_EVENT_L4_CONNECTED |
									 NET_EVENT_L4_DISCONNECTED);
	net_mgmt_add_event_callback(&mgmt_cb);

	printk("Initialised gsm\n");
}
```
